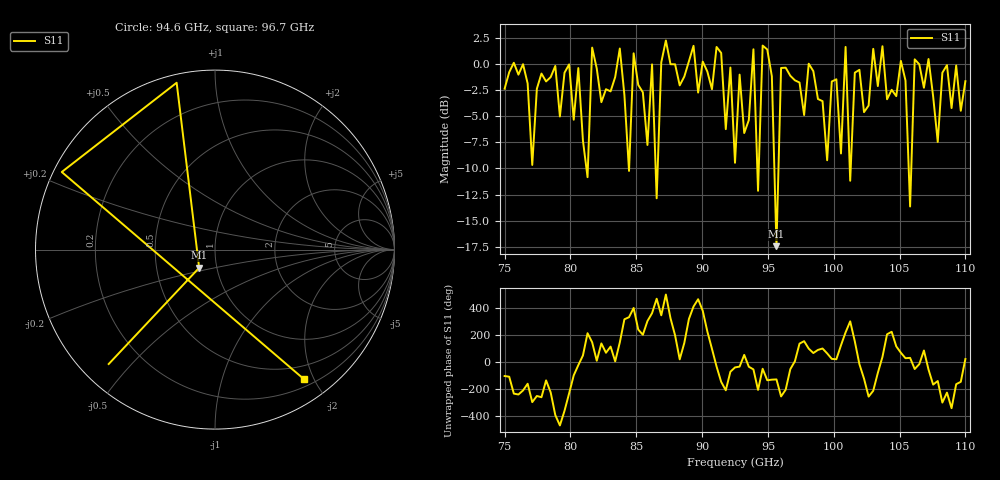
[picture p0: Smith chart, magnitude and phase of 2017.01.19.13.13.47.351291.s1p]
!Created with skrf (http://scikit-rf.org).
# GHz S RI R 50.0
!freq ReS11 ImS11
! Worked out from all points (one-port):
!   101 points, 75 GHz to 110 GHz, reference 50 ohm
!   lowest |S11| = -17.4 dB at 95.65 GHz (marker M1), VSWR 1.31, Z = 41.1 - j8.5 ohm
!   |S11| at or under -10 dB: 81.21586 GHz to 81.32373 GHz (107.9 MHz wide, 0.133 % of centre); 84.43831 GHz to 84.45753 GHz (19.21 MHz wide, 0.0228 % of centre); 86.47188 GHz to 86.62696 GHz (155.1 MHz wide, 0.179 % of centre) (the widest 3 of 7)
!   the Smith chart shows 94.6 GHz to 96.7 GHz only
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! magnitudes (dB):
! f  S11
! 75 GHz  -2.4
! 79.55 GHz  -0.9
! 81.3 GHz  -10.8
! 81.65 GHz  1.5
! 83.75 GHz  1.5
! 84.45 GHz  -10.2
! 84.8 GHz  1.0
! 86.2 GHz  -0.1
! 86.55 GHz  -12.9
! 86.9 GHz  0.1
! 88.3 GHz  -2.1
! 91.45 GHz  1.0
! 92.5 GHz  -9.5
! 93.9 GHz  1.4
! 94.25 GHz  -12.1
! 94.95 GHz  1.4
! 95.65 GHz  -17.4
! 96 GHz  -0.4
! 97.05 GHz  -1.6
! 100.5 GHz  -8.6
! 100.9 GHz  1.6
! 101.2 GHz  -11.2
! 101.6 GHz  -0.9
! 103.7 GHz  1.7
! 105.5 GHz  -1.6
! 105.8 GHz  -13.6
! 106.2 GHz  0.4
! 110 GHz  -1.7
